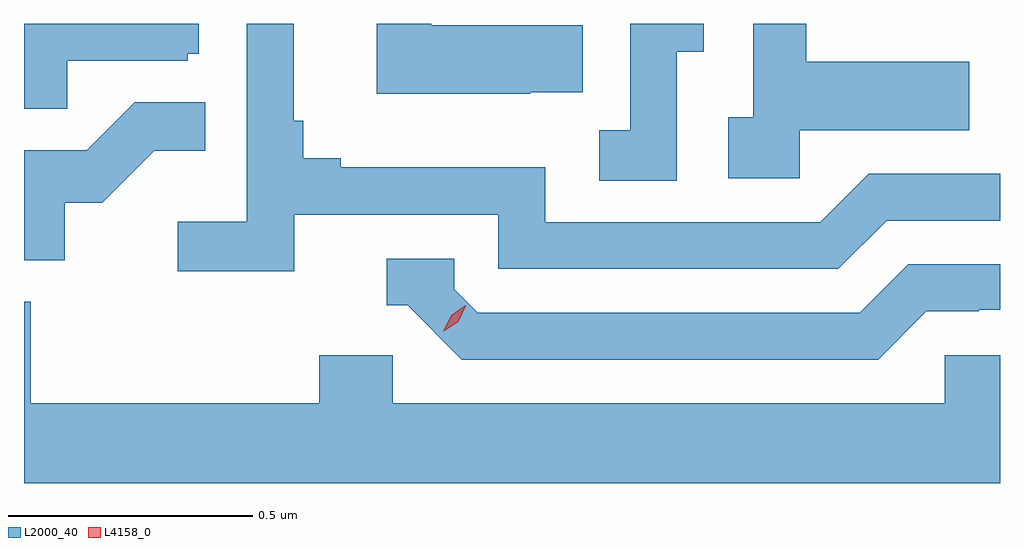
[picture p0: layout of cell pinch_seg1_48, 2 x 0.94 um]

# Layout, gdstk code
import gdstk
lib = gdstk.Library(unit=1e-6, precision=1e-09)
def P(c, l, *ps):  # polygons
    for p in ps: c.add(gdstk.Polygon(p, *l))
L2000_40 = (2000, 40)
L4158_0 = (4158, 0)

pinch_seg1_48 = lib.new_cell('pinch_seg1_48')
P(pinch_seg1_48, L2000_40, [(1069.721,581.837),(1069.829,581.837),(1069.829,581.974),(1069.519,581.974),(1069.519,581.977),(1069.407,581.977),(1069.407,581.834),(1069.721,581.834)],
  [(1070.022,581.92),(1070.077,581.92),(1070.077,581.977),(1069.926,581.977),(1069.926,581.759),(1069.863,581.759),(1069.863,581.656),(1070.022,581.656)],
  [(1068.773,581.901),(1069.02,581.901),(1069.02,581.916),(1069.042,581.916),(1069.042,581.977),(1068.684,581.977),(1068.684,581.803),(1068.773,581.803)],
  [(1070.274,581.759),(1070.621,581.759),(1070.621,581.899),(1070.287,581.899),(1070.287,581.977),(1070.178,581.977),(1070.178,581.786),(1070.127,581.786),(1070.127,581.661),(1070.274,581.661)],
  [(1069.238,581.586),(1069.656,581.586),(1069.656,581.475),(1070.353,581.475),(1070.452,581.574),(1070.684,581.574),(1070.684,581.67),(1070.415,581.67),(1070.316,581.571),(1069.752,581.571),(1069.752,581.683),(1069.333,581.683),(1069.333,581.702),(1069.256,581.702),(1069.256,581.779),(1069.237,581.779),(1069.237,581.977),(1069.14,581.977),(1069.14,581.572),(1068.999,581.572),(1068.999,581.47),(1069.238,581.47)],
  [(1068.768,581.61),(1068.844,581.61),(1068.951,581.717),(1069.055,581.717),(1069.055,581.816),(1068.911,581.816),(1068.813,581.718),(1068.684,581.718),(1068.684,581.493),(1068.768,581.493)],
  [(1070.533,581.388),(1070.64,581.388),(1070.64,581.391),(1070.684,581.391),(1070.684,581.484),(1070.496,581.484),(1070.397,581.385),(1069.614,581.385),(1069.566,581.433),(1069.566,581.496),(1069.427,581.496),(1069.427,581.4),(1069.47,581.4),(1069.581,581.289),(1070.434,581.289)],
  [(1070.684,581.298),(1070.571,581.298),(1070.571,581.2),(1069.44,581.2),(1069.44,581.298),(1069.289,581.298),(1069.289,581.2),(1068.698,581.2),(1068.698,581.408),(1068.684,581.408),(1068.684,581.036),(1070.684,581.036)])
P(pinch_seg1_48, L4158_0, [(1069.543,581.347),(1069.543,581.347),(1069.559,581.38),(1069.589,581.4),(1069.589,581.4),(1069.589,581.399),(1069.574,581.367),(1069.544,581.347)])

lib.write_gds('pinch_seg1_48.gds')
